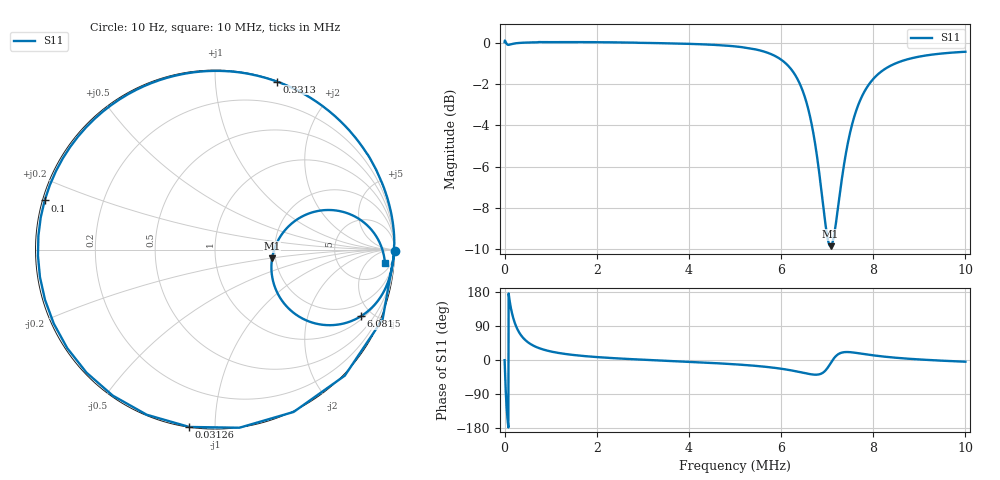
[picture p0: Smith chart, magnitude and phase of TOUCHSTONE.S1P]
!Keysight Technologies,E5061B,MY49912438,B.06.30
!Date: Thu Nov 06 21:33:09 2025
!Data & Calibration Information:
!Freq	S11:SOLT1(ON)
# Hz S dB R 50
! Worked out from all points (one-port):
!   1601 points, 10 Hz to 10 MHz, reference 50 ohm
!   lowest |S11| = -9.8 dB at 7.075 MHz (marker M1), VSWR 1.95, Z = 96 - j10.2 ohm
!   |S11| at or under -10 dB: nowhere
!   S11 on the Smith chart (normalised r, x): 10 Hz: open; 31.26 kHz: 0.00, -0.87; 100 kHz: 0.01, +0.14; 331.3 kHz: 0.00, +1.44; 6.081 MHz: 1.16, -4.31; 10 MHz: 12, -18
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10  0.01 -0.4
31259.97  -0.01 -98.3
56259.94  -0.09 -146.3
68759.93  -0.11 -163.6
81259.92  -0.11 -178.0
100009.9  -0.11 163.9
118759.9  -0.10 149.0
143759.9  -0.08 132.7
187509.8  -0.06 110.7
243759.8  -0.04 90.6
331259.7  -0.02 69.7
456259.5  -0.00 51.8
625009.4  0.01 37.8
900009.1  0.02 25.5
1250009  0.02 17.1
2500008  0.00 3.9
3750006  -0.05 -3.4
5000005  -0.19 -11.4
6081254  -0.97 -24.5
6250004  -1.38 -28.0
6693753  -4.30 -38.4
6906253  -7.75 -33.7
7075003  -9.85 -8.5
7287503  -7.10 18.3
7500002  -4.33 20.7
8012502  -1.73 12.1
8750001  -0.81 3.5
1e7  -0.45 -4.5
